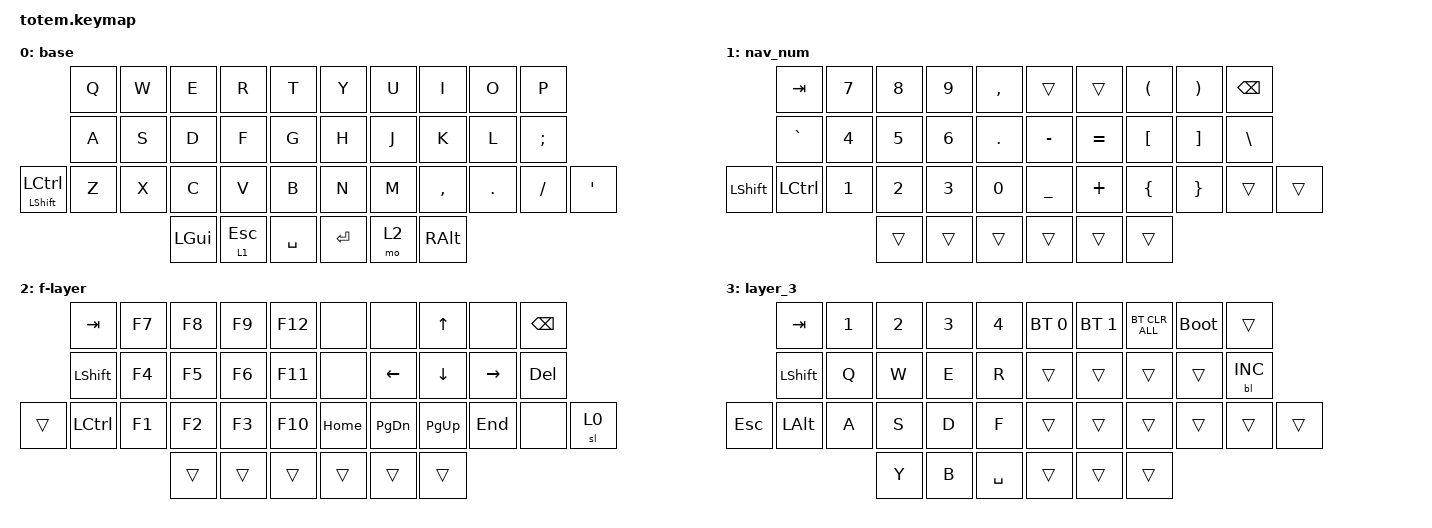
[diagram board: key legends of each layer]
//
//                                                        ▀▀▀▀▀     ▀▀▀▀▀          ▀▀█▀▀
//                                                        ▄▀▀▀▄  ▄  ▄▀▀▀▄  ▄  ▄▀▀▀▄  █  ▄▀▀▀▄
//                                                        █   █  █  █   █  █  █   █  █  █   █
//                                                         ▀▀▀   █   ▀▀▀   █   ▀▀▀   ▀   ▀▀▀
//                                                               █      ▄▄▄█▄▄▄    █   █  
//                                                               ▀      █  █  █     █▄█
//                                                             ▀▀▀▀▀    █  █  █      ▀
//                                                                      ▀  ▀  ▀
//
// ▄▄▄▄▄▄▄▄▄▄▄▄▄▄▄▄▄▄▄▄▄▄▄▄▄▄▄▄▄▄▄▄▄▄▄▄▄▄▄▄▄▄▄▄▄▄▄▄▄▄▄▄▄▄▄▄▄▄▄▄▄▄▄▄▄▄▄▄▄▄▄▄▄▄▄▄▄▄▄▄▄▄▄▄▄▄▄▄▄▄▄▄▄▄▄▄▄▄▄▄▄▄▄▄▄▄▄▄▄▄▄▄▄▄▄▄▄▄▄▄▄▄▄▄▄▄▄▄▄▄▄▄▄▄▄▄▄▄▄▄▄▄▄▄▄▄▄▄▄

#include <behaviors.dtsi>
#include <dt-bindings/zmk/backlight.h>
#include <dt-bindings/zmk/bt.h>
#include <dt-bindings/zmk/keys.h>

/ {
    combos { compatible = "zmk,combos"; };

    keymap {
        compatible = "zmk,keymap";

        base {
            bindings = <
                             &kp Q  &kp W  &kp E     &kp R         &kp T        &kp Y      &kp U  &kp I          &kp O    &kp P
                             &kp A  &kp S  &kp D     &kp F         &kp G        &kp H      &kp J  &kp K          &kp L    &kp SEMI
&mt LEFT_SHIFT LEFT_CONTROL  &kp Z  &kp X  &kp C     &kp V         &kp B        &kp N      &kp M  &kp COMMA      &kp DOT  &kp FSLH  &kp APOS
                                           &kp LGUI  &lt 1 ESCAPE  &kp SPACE    &kp ENTER  &mo 2  &kp RIGHT_ALT
            >;
        };

        nav_num {
            bindings = <
                &kp TAB           &kp N7        &kp N8        &kp N9        &kp COMMA     &trans          &trans     &kp LEFT_PARENTHESIS  &kp RIGHT_PARENTHESIS  &kp BACKSPACE
                &kp GRAVE         &kp NUMBER_4  &kp N5        &kp NUMBER_6  &kp PERIOD    &kp MINUS       &kp EQUAL  &kp LEFT_BRACKET      &kp RIGHT_BRACKET      &kp BACKSLASH
&kp LEFT_SHIFT  &kp LEFT_CONTROL  &kp NUMBER_1  &kp NUMBER_2  &kp NUMBER_3  &kp N0        &kp UNDERSCORE  &kp PLUS   &kp LEFT_BRACE        &kp RIGHT_BRACE        &trans         &trans
                                                &trans        &trans        &trans        &trans          &trans     &trans
            >;
        };

        f-layer {
            bindings = <
        &kp TAB           &kp F7  &kp F8  &kp F9  &kp F12    &none     &none           &kp UP_ARROW    &none            &kp BACKSPACE
        &kp LEFT_SHIFT    &kp F4  &kp F5  &kp F6  &kp F11    &none     &kp LEFT_ARROW  &kp DOWN_ARROW  &kp RIGHT_ARROW  &kp DELETE
&trans  &kp LEFT_CONTROL  &kp F1  &kp F2  &kp F3  &kp F10    &kp HOME  &kp PAGE_DOWN   &kp PAGE_UP     &kp END          &none          &sl 0
                                  &trans  &trans  &trans     &trans    &trans          &trans
            >;
        };

        layer_3 {
            bindings = <
         &kp TAB    &kp N1  &kp N2  &kp N3  &kp N4       &bt BT_SEL 0  &bt BT_SEL 1  &bt BT_CLR_ALL  &bootloader  &trans
         &kp LSHFT  &kp Q   &kp W   &kp E   &kp R        &trans        &trans        &trans          &trans       &bl BL_INC
&kp ESC  &kp LALT   &kp A   &kp S   &kp D   &kp F        &trans        &trans        &trans          &trans       &trans      &trans
                            &kp Y   &kp B   &kp SPACE    &trans        &trans        &trans
            >;
        };
    };

    conditional_layers { compatible = "zmk,conditional-layers"; };
};
